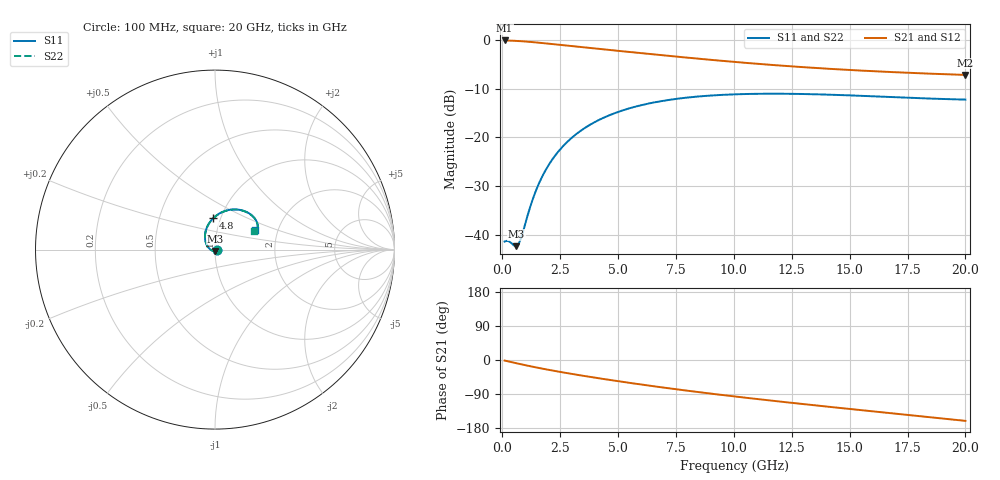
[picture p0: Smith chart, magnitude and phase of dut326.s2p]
! Touchstone file exported from HFSS 2024.1.0
!  File:  C:/UserFiles/LocalFiles/RDL_TSV_Batchsim/temp_RDL_TSV_326_1779630880.aedt
!  Generated:  10:07:56 PM May 24, 2026
!  Design:  RDL_TSV
!  Project:  temp_RDL_TSV_326_1779630880
!  Setup:  Setup1
!  Solution:  Sweep
! Variables:
!  dtsv = 10um
!  hbump = 3um
!  htsv = 56.1um
!  ldown = 149.81um
!  lrdl = 504.98um
!  p = 40
!  p1 = 50.39um
!  rhole = 10um
!  subl = 2469.35um
!  t = 450um
!  tdown = 2.98um
!  trdl = 4.6um
!  viad = 10um
!  wdown = 25.2um
!  wrdl = 28.82um
!  xbump = 18um
# GHz S MA R 50.000000
! Terminal data exported
! Port[1] = TM1_1_T1
! Port[2] = TM1_4_T1
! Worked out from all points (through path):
!   200 points, 100 MHz to 20 GHz, reference 50 ohm
!   highest |S21| = -0.08 dB at 100 MHz (marker M1); lowest = -7.2 dB at 20 GHz (marker M2)
!   group delay of S21, straight-line fit = 21.1 ps
!   lowest |S11| = -42.3 dB at 600 MHz (marker M3), VSWR 1.02, Z = 50.2 - j0.747 ohm
!   |S11| at or under -10 dB: start of sweep to end of sweep
!   |S22| runs from -42.3 to -11.0 dB; largest |S21 - S12| = 1.1e-14
!   S11 on the Smith chart (normalised r, x): 100 MHz: 1.02, -0.00; 4.8 GHz: 0.92, +0.33; 20 GHz: 1.52, +0.34
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0.1  0.008544 -5.7  0.991 -1.5  0.991 -1.5  0.008544 -5.7
! Gamma 0 0 0 0
! Port Impedance 50 0 50 0
0.3  0.008565 -26.1  0.9877 -4.3  0.9877 -4.3  0.008567 -26.1
0.6  0.00766 -76.2  0.9806 -8.4  0.9806 -8.4  0.007663 -76.2
0.7  0.00803 -97.4  0.9776 -9.8  0.9776 -9.8  0.00803 -97.4
0.8  0.009098 -117.7  0.9742 -11.1  0.9742 -11.1  0.009095 -117.6
1.2  0.0192 -168.5  0.958 -16.3  0.958 -16.3  0.01918 -168.5
1.4  0.0264 177.6  0.9487 -18.8  0.9487 -18.8  0.02637 177.7
1.6  0.03442 167.1  0.9388 -21.3  0.9388 -21.3  0.03438 167.1
1.9  0.0475 154.6  0.9235 -24.8  0.9235 -24.8  0.04744 154.6
2.2  0.06135 144.5  0.9079 -28.2  0.9079 -28.2  0.06127 144.5
2.6  0.08033 133.3  0.8873 -32.5  0.8873 -32.5  0.08022 133.3
3.5  0.1223 113.7  0.8429 -41.7  0.8429 -41.7  0.1222 113.7
4.1  0.1483 103.4  0.8151 -47.6  0.8151 -47.6  0.1481 103.3
4.8  0.1757 93.1  0.7841 -54.1  0.7841 -54.1  0.1754 93.0
5.7  0.2058 81.8  0.7463 -62.1  0.7463 -62.1  0.2055 81.8
6.8  0.2347 70.4  0.703 -71.4  0.703 -71.4  0.2343 70.4
8.4  0.2627 57.1  0.6462 -84.1  0.6462 -84.1  0.2622 57.1
10.1  0.2776 46.2  0.5946 -96.7  0.5946 -96.7  0.2771 46.2
11.7  0.2815 38.4  0.5544 -107.7  0.5544 -107.7  0.2808 38.3
13.4  0.2781 32.2  0.5196 -118.9  0.5196 -118.9  0.2774 32.1
16.7  0.2607 25.7  0.4708 -139.9  0.4708 -139.9  0.2599 25.6
20  0.245 25.8  0.4388 -160.6  0.4388 -160.6  0.2442 25.8
